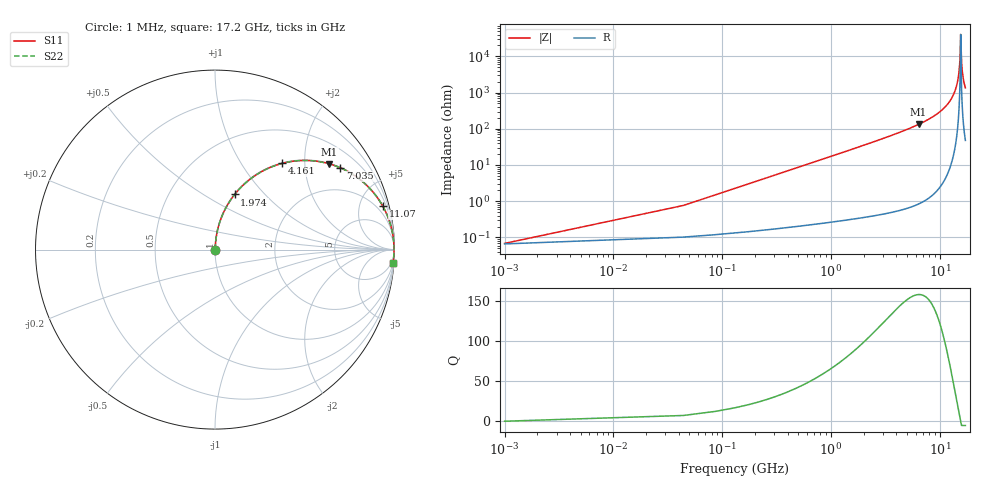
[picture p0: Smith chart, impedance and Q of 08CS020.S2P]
! Coilcraft 0805CS-020 Chip Inductor
! 11 June 2002
# MHZ S MA R 50
!Freq  MagS11  AngS11  MagS21  AngS21  MagS12  AngS12  MagS22  AngS22
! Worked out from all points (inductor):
!   403 points, 1 MHz to 17.2 GHz, reference 50 ohm
!   read as one part in series: L = 2.75 nH near 86.78 MHz
!   highest Q = 158 at 6.392 GHz (marker M1), where L = 3.31 nH
!   self-resonance near 15.53 GHz
!   S11 on the Smith chart (normalised r, x): 1 MHz: 1.00, +0.00; 1.974 GHz: 1.01, +0.69; 4.161 GHz: 1.01, +1.55; 7.035 GHz: 1.02, +3.05; 11.07 GHz: 1.08, +7.73; 17.2 GHz: 2, -27
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1  0.0006857 14.6  0.9993 -0.0  0.9993 -0.0  0.0006857 14.6
129.67  0.02241 85.3  0.9984 -1.3  0.9984 -1.3  0.02241 85.3
215.45  0.03718 85.5  0.9978 -2.1  0.9978 -2.1  0.03718 85.5
387.01  0.06666 84.6  0.9959 -3.8  0.9959 -3.8  0.06666 84.6
987.47  0.1684 79.4  0.9831 -9.7  0.9831 -9.7  0.1684 79.4
1973.94  0.3265 70.4  0.9419 -19.1  0.9419 -19.1  0.3265 70.4
2874.63  0.4558 62.4  0.8863 -27.1  0.8863 -27.1  0.4558 62.4
4161.33  0.6102 52.0  0.788 -37.6  0.788 -37.6  0.6102 52.0
5748.26  0.7522 40.9  0.6541 -48.8  0.6541 -48.8  0.7522 40.9
6391.61  0.7965 36.8  0.5996 -52.8  0.5996 -52.8  0.7965 36.8
7034.96  0.8342 33.1  0.5462 -56.5  0.5462 -56.5  0.8342 33.1
8621.89  0.9042 24.9  0.4208 -64.7  0.4208 -64.7  0.9042 24.9
11066.62  0.9658 14.5  0.2499 -75.0  0.2499 -75.0  0.9658 14.5
11495.52  0.9724 12.9  0.2227 -76.5  0.2227 -76.5  0.9724 12.9
13211.12  0.9902 7.0  0.1215 -81.9  0.1215 -81.9  0.9902 7.0
14369.15  0.9958 3.4  0.05949 -84.3  0.05949 -84.3  0.9958 3.4
15141.17  0.9973 1.2  0.02081 -82.1  0.02081 -82.1  0.9973 1.2
15312.73  0.9975 0.7  0.01256 -78.0  0.01256 -78.0  0.9975 0.7
15570.07  0.9975 -0.0  0.00248 1.1  0.00248 1.1  0.9975 -0.0
15827.41  0.9974 -0.7  0.01246 77.7  0.01246 77.7  0.9974 -0.7
16084.75  0.9972 -1.4  0.02429 82.7  0.02429 82.7  0.9972 -1.4
17200  0.9946 -4.2  0.07383 83.7  0.07383 83.7  0.9946 -4.2
